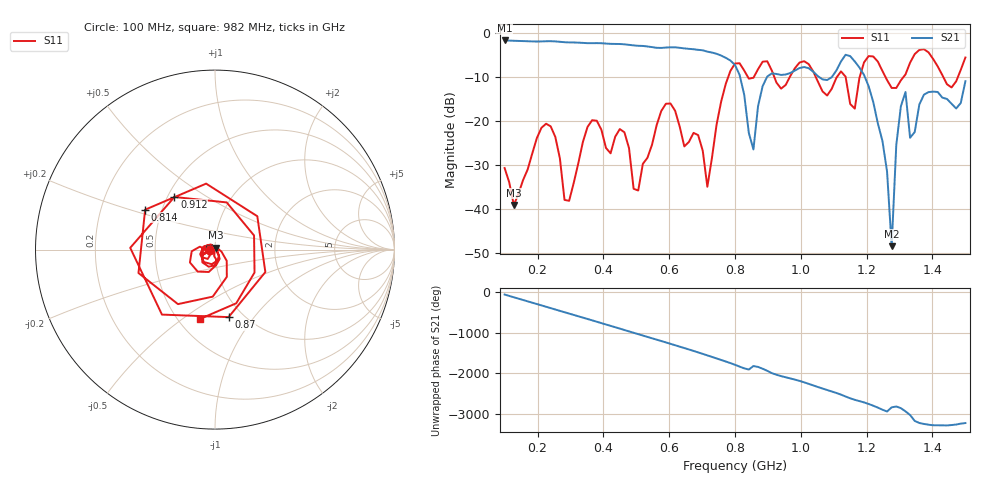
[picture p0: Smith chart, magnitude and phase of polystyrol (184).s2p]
! NanoVNA-App
! Date: 2025-09-25 15:31:19
! Start: 100MHz Stop: 1,5GHz Points: 101
! S-Parameter data: F S11 S21 S12 S22
# Hz S RI R 50
!  Frequency  S11_Real  S11_Imag  S21_Real  S21_Imag  S12_Real  S12_Imag  S22_Real  S22_Imag
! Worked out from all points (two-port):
!   101 points, 100 MHz to 1.5 GHz, reference 50 ohm
!   highest |S21| = -1.80 dB at 100 MHz (marker M1); lowest = -48.4 dB at 1.276 GHz (marker M2)
!   |S21| within 3 dB of the highest: start of sweep to 743.2 MHz
!   lowest |S11| = -39.1 dB at 128 MHz (marker M3), VSWR 1.02, Z = 50.3 + j1.06 ohm
!   |S11| at or under -10 dB: start of sweep to 779.8 MHz; 1.045 GHz to 1.11 GHz (65.49 MHz wide, 6.08 % of centre); 1.136 GHz to 1.179 GHz (43.14 MHz wide, 3.73 % of centre) (the widest 3 of 7)
!   S12 and S22 are empty: the file has one direction only
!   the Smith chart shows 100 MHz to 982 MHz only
!   S11 on the Smith chart (normalised r, x): 100 MHz: 0.94, -0.01; 814 MHz: 0.40, +0.22; 870 MHz: 0.86, -0.76; 912 MHz: 0.54, +0.37; 982 MHz: 0.64, -0.58
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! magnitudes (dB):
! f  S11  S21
! 100 MHz  -30.7  -1.8
! 128 MHz  -39.1  -1.9
! 212 MHz  -21.6  -2.0
! 282 MHz  -37.9  -2.2
! 338 MHz  -24.7  -2.4
! 506 MHz  -35.8  -3.0
! 576 MHz  -17.8  -3.5
! 716 MHz  -34.9  -4.3
! 800 MHz  -7.0  -7.4
! 814 MHz  -7.0  -9.6
! 856 MHz  -10.3  -26.5
! 870 MHz  -8.3  -16.7
! 912 MHz  -8.6  -9.3
! 982 MHz  -8.1  -8.6
! 1.038 GHz  -8.9  -8.9
! 1.192 GHz  -6.8  -9.6
! 1.248 GHz  -8.7  -24.6
! 1.276 GHz  -12.6  -48.4
! 1.29 GHz  -12.6  -25.5
! 1.318 GHz  -9.5  -13.5
! 1.332 GHz  -6.8  -23.8
! 1.5 GHz  -5.7  -11.0
